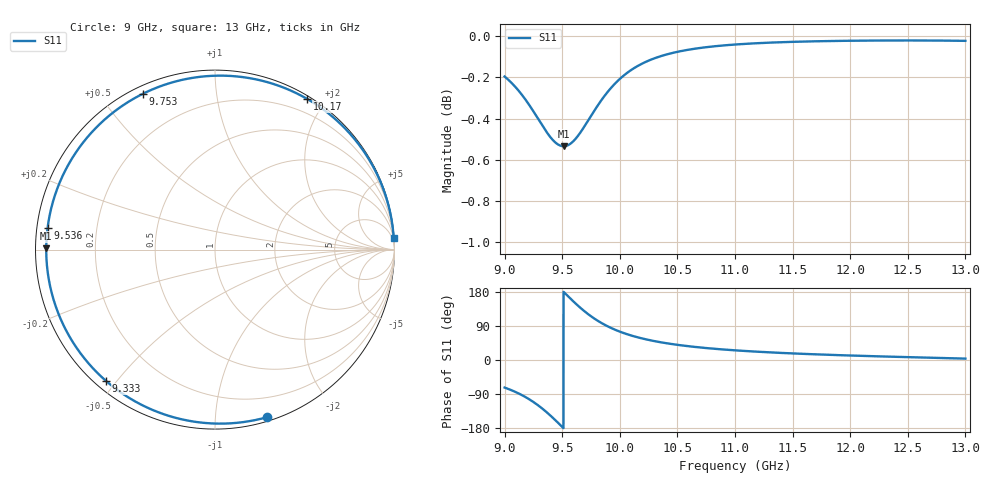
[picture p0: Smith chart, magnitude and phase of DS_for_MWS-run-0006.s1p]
! TOUCHSTONE file generated by CST DESIGN STUDIO
! Date and time: Wed Feb  5 13:20:44 2025
! Project name: C:\Work\MatlabApps\UnitCellOptimizationMatlab\CST\unitcell.cst
! Tree item: Tasks\Sweep1\SPara1\S-Parameters
! Header version: 2024
! Port assignment regex: !\s*Touchstone port\s*([0-9]+)\s*=\s*(CST MWS port|CST DES external port|CST DES block port)\s*(.+)\s* \(\"(.*)\"\)(\s*mode\s*([0-9]+))?.*
! Touchstone port assignment:
! Touchstone port 1 = CST DES external port 1 ("")
# GHz S MA R 50
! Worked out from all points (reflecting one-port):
!   4001 points, 9 GHz to 13 GHz, reference 50 ohm
!   lowest |S11| = -0.5 dB at 9.513 GHz (marker M1), VSWR 32.52, Z = 1.54 + j0.208 ohm
!   phase of S11 starts at -73 deg and turns -284 deg over the sweep
!   S11 on the Smith chart (normalised r, x): 9 GHz: 0.03, -1.36; 9.333 GHz: 0.03, -0.47; 9.536 GHz: 0.03, +0.06; 9.753 GHz: 0.03, +0.64; 10.17 GHz: 0.03, +1.78; 13 GHz: 1, +31
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9  0.9778 -72.8
9.09  0.9723 -83.8
9.194  0.9641 -100.1
9.267  0.9572 -114.4
9.333  0.9508 -129.6
9.378  0.9467 -141.2
9.425  0.9432 -154.3
9.463  0.9413 -165.4
9.5  0.9404 -176.5
9.513  0.9403 179.5
9.536  0.9406 172.6
9.589  0.9425 156.9
9.649  0.9468 140.0
9.7  0.9515 127.0
9.753  0.9567 114.8
9.804  0.9616 104.4
9.86  0.9666 94.4
10  0.9764 74.8
10.081  0.9806 66.3
10.17  0.9841 58.7
10.32  0.9882 48.7
10.5  0.9914 40.0
10.722  0.9937 32.3
11  0.9954 25.5
11.5  0.9969 17.3
12  0.9975 11.8
12.5  0.9977 7.5
13  0.9975 3.7
